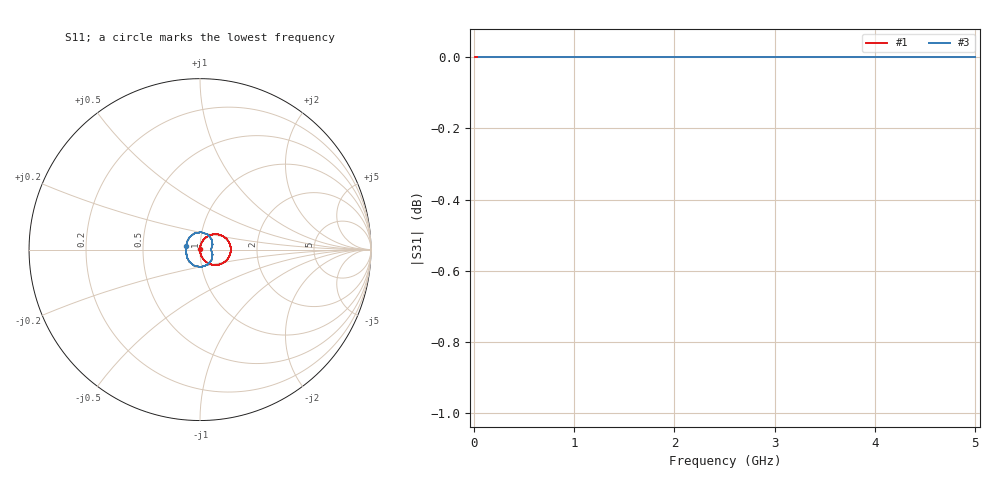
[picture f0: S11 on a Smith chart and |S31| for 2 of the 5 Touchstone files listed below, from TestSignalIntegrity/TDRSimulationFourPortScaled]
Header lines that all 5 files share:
# MHz MA S R 50.0
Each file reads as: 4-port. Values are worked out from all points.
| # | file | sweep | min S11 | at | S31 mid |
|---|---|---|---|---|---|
| 1 | xferNoneBAInverse1.s4p | 10 MHz to 5 GHz | -44.8 dB | 10 MHz | 0.0 dB at 2.51 GHz |
| 2 | xferNoneDiagonalA1.s4p | 10 MHz to 5 GHz | -44.8 dB | 10 MHz | 0.0 dB at 2.51 GHz |
| 3 | xferNoneTDR1.s4p | 50 MHz to 5 GHz | -23.9 dB | 500 MHz | 0.0 dB at 2.55 GHz |
| 4 | xferThruTDR1.s4p | 50 MHz to 5 GHz | -23.9 dB | 500 MHz | 0.0 dB at 2.55 GHz |
| 5 | xferThruTDRStep1.s4p | 50 MHz to 5 GHz | -23.9 dB | 500 MHz | 0.0 dB at 2.55 GHz |
